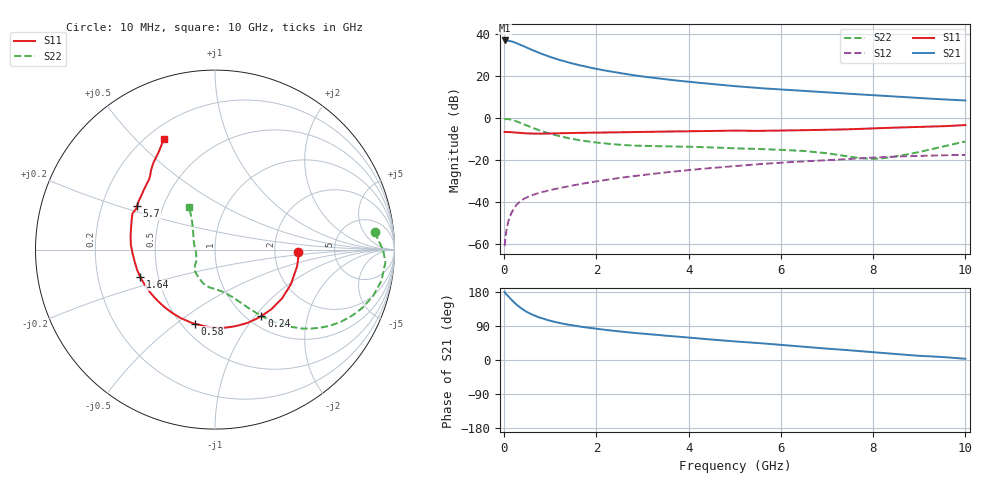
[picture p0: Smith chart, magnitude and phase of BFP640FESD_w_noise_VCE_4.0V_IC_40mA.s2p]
! Infineon Technologies  Discrete & RF Semiconductors
! BFP640FESD
! VCE =  4.0 V,  IC =  40 mA
! Common Emitter S-Parameters:  Jan 2016
# GHz  S  MA  R  50
!  f  S11  S21  S12  S22
! GHz  MAG  ANG  MAG  ANG  MAG  ANG  MAG  ANG
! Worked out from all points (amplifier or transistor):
!   233 points, 10 MHz to 10 GHz, reference 50 ohm
!   highest |S21| = 36.9 dB at 10 MHz (marker M1)
!   |S21| within 3 dB of that: start of sweep to 450.9 MHz
!   unconditionally stable (mu >= 1): start of sweep to 16.46 MHz; 2.739 GHz to end of sweep
!   at 200 MHz: K = 0.27, MSG = 39.8 dB, |S12| = -43.3 dB
!   at 1.74 GHz: K = 0.90, MSG = 27.8 dB, |S12| = -31.1 dB
!   at 10 GHz: K = 1.06, MAG = 11.5 dB, |S12| = -17.5 dB
!   lowest NFmin = 1.24 dB at 450 MHz
!   S11 on the Smith chart (normalised r, x): 10 MHz: 2.73, -0.08; 240 MHz: 1.16, -1.08; 580 MHz: 0.58, -0.59; 1.64 GHz: 0.40, -0.15; 5.7 GHz: 0.36, +0.23; 10 GHz: 0.27, +0.61
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0.01  0.4648 -1.4  69.62 179.8  0.0009 83.0  0.8951 6.2
0.02  0.4671 -4.1  69.45 176.8  0.0011 68.6  0.9366 -0.2
0.1  0.465 -24.4  68.44 166.7  0.0038 71.7  0.9432 -10.6
0.15  0.4622 -36.0  66.66 160.1  0.0053 71.3  0.9181 -16.3
0.24  0.4514 -55.0  61.79 149.2  0.0079 67.2  0.8539 -25.0
0.3  0.4464 -66.4  58.35 142.9  0.0094 65.2  0.8068 -30.0
0.4  0.4386 -82.8  52.25 133.8  0.0114 62.4  0.7274 -36.8
0.5  0.4318 -96.6  46.61 126.3  0.0131 60.2  0.6548 -42.2
0.58  0.4279 -105.4  42.62 121.4  0.0142 59.1  0.6041 -45.4
0.7  0.4267 -117.0  37.47 115.0  0.0159 58.2  0.5387 -49.6
0.8  0.4256 -124.6  33.86 110.6  0.0171 58.0  0.4937 -52.3
1  0.428 -137.0  28.21 103.4  0.0194 58.3  0.4223 -56.8
1.3  0.4351 -149.7  22.32 95.3  0.0228 59.4  0.3493 -62.2
1.64  0.4438 -159.6  17.91 88.4  0.0268 60.7  0.2961 -67.8
1.68  0.444 -160.7  17.5 87.6  0.0273 60.8  0.2914 -68.4
2.4  0.4558 -174.5  12.23 76.7  0.0363 61.8  0.2362 -80.7
3.4  0.475 171.8  8.555 65.4  0.0495 60.5  0.2142 -96.9
5.1  0.5003 155.6  5.607 48.1  0.0731 54.8  0.189 -114.9
5.7  0.498 150.6  5.001 42.9  0.0825 52.1  0.1806 -119.4
6.8  0.5205 138.8  4.178 32.0  0.0969 45.8  0.1527 -137.2
8.4  0.5869 126.2  3.277 16.5  0.1201 36.5  0.1179 167.6
10  0.6793 114.8  2.61 3.2  0.1334 25.8  0.2774 121.3
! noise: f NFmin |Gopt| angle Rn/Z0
0.45  1.24  0.27  -171  0.08
2.4  1.28  0.28  -151  0.11
5.5  1.51  0.34  -146  0.12
10  2.04  0.48  -101  0.38
